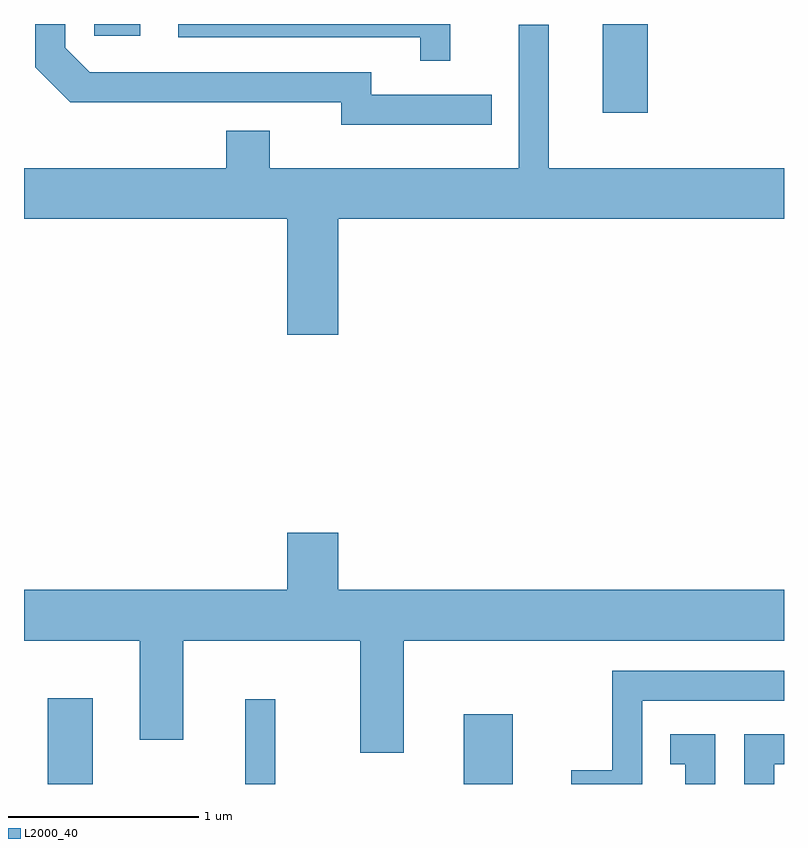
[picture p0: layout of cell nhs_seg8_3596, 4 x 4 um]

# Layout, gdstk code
import gdstk
lib = gdstk.Library(unit=1e-6, precision=1e-09)
def R(c, l, rs):  # rectangles x0, y0, x1, y1
    for r in rs: c.add(gdstk.rectangle(r[:2], r[2:], *l))
def P(c, l, *ps):  # polygons
    for p in ps: c.add(gdstk.Polygon(p, *l))
L2000_40 = (2000, 40)

nhs_seg8_3596 = lib.new_cell('nhs_seg8_3596')
R(nhs_seg8_3596, L2000_40, [(293.736,1822.342,293.974,1822.794), (294.776,1822.342,294.934,1822.788), (295.926,1822.342,296.184,1822.709), (296.656,1825.876,296.894,1826.342), (293.981,1826.281,294.223,1826.342)])
P(nhs_seg8_3596, L2000_40, [(296.073,1825.969),(295.439,1825.969),(295.439,1826.089),(293.957,1826.089),(293.829,1826.217),(293.829,1826.342),(293.671,1826.342),(293.671,1826.114),(293.854,1825.931),(295.281,1825.931),(295.281,1825.811),(296.073,1825.811)],
  [(295.854,1826.342),(294.423,1826.342),(294.423,1826.271),(295.696,1826.271),(295.696,1826.148),(295.854,1826.148)],
  [(295.264,1825.316),(297.611,1825.316),(297.611,1825.584),(296.374,1825.584),(296.374,1826.338),(296.216,1826.338),(296.216,1825.584),(294.904,1825.584),(294.904,1825.779),(294.676,1825.779),(294.676,1825.584),(293.611,1825.584),(293.611,1825.316),(294.996,1825.316),(294.996,1824.706),(295.264,1824.706)],
  [(295.381,1822.506),(295.609,1822.506),(295.609,1823.096),(297.611,1823.096),(297.611,1823.364),(295.264,1823.364),(295.264,1823.664),(294.996,1823.664),(294.996,1823.364),(293.611,1823.364),(293.611,1823.096),(294.221,1823.096),(294.221,1822.576),(294.449,1822.576),(294.449,1823.096),(295.381,1823.096)],
  [(296.864,1822.781),(297.611,1822.781),(297.611,1822.939),(296.706,1822.939),(296.706,1822.414),(296.491,1822.414),(296.491,1822.342),(296.864,1822.342)],
  [(297.249,1822.604),(297.013,1822.604),(297.013,1822.446),(297.091,1822.446),(297.091,1822.342),(297.249,1822.342)],
  [(297.559,1822.446),(297.611,1822.446),(297.611,1822.604),(297.401,1822.604),(297.401,1822.342),(297.559,1822.342)])

lib.write_gds('nhs_seg8_3596.gds')
